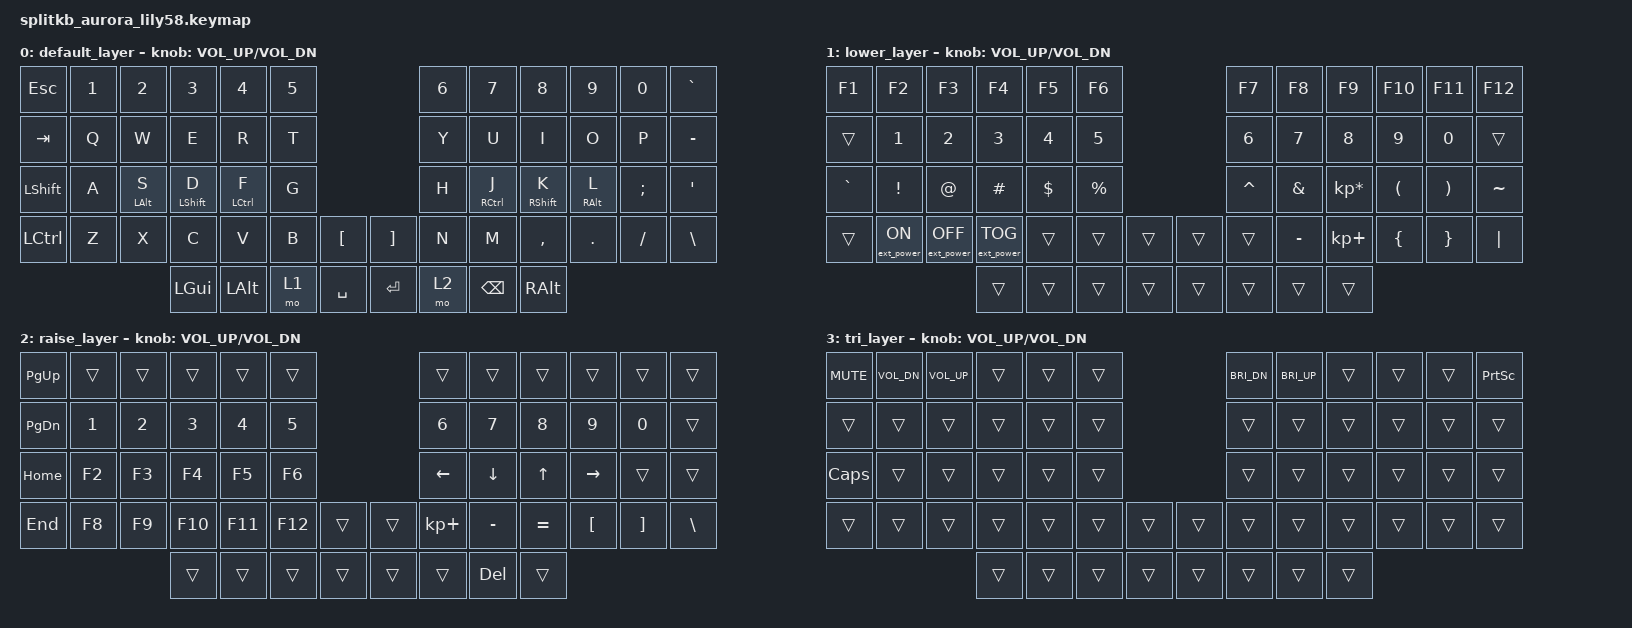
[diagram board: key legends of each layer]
/*
 * Copyright (c) 2020 The ZMK Contributors
 *
 * SPDX-License-Identifier: MIT
 */

#include <behaviors.dtsi>
#include <dt-bindings/zmk/keys.h>
#include <dt-bindings/zmk/bt.h>
#include <dt-bindings/zmk/ext_power.h>

/ {

behaviors {

    hm: homerow_mods {
        compatible = "zmk,behavior-hold-tap";
        #binding-cells = <2>;
        tapping-term-ms = <200>;
        quick-tap-ms = <0>;
        flavor = "balanced";
        bindings = <&kp>, <&kp>;
    };
};

    conditional_layers {
        compatible = "zmk,conditional-layers";
        tri_layer {
            if-layers = <1 2>;
            then-layer = <3>;
        };
    };


	keymap {
		compatible = "zmk,keymap";

		default_layer {
// ------------------------------------------------------------------------------------------------------------
// |  ESC  |  1  |  2  |  3   |  4   |  5   |                   |  6   |  7    |  8    |  9   |   0   |   `   |
// |  TAB  |  Q  |  W  |  E   |  R   |  T   |                   |  Y   |  U    |  I    |  O   |   P   |   -   |
// | SHIFT |  A  |  S  |  D   |  F   |  G   |                   |  H   |  J    |  K    |  L   |   ;   |   '   |
// |  CTRL |  Z  |  X  |  C   |  V   |  B   |   "["  |  |  "]"  |  N   |  M    |  ,    |  .   |   /   |  \ |  |
//                     | GUI  | ALT  | LOWER|  SPACE |  | ENTER | RAISE| BSPC  | ALG_GR|
			bindings = <
&kp ESC   &kp N1 &kp N2      &kp N3        &kp N4      &kp N5                     &kp N6 &kp N7      &kp N8       &kp N9     &kp N0   &kp GRAVE
&kp TAB   &kp Q  &kp W       &kp E         &kp R       &kp T                      &kp Y  &kp U       &kp I        &kp O      &kp P    &kp MINUS
&kp LSHFT &kp A  &hm LALT S  &hm LSHIFT D  &hm LCTRL F &kp G                      &kp H  &hm RCTRL J &hm RSHIFT K &hm RALT L &kp SEMI &kp SQT
&kp LCTRL &kp Z  &kp X       &kp C         &kp V       &kp B  &kp LBKT   &kp RBKT &kp N  &kp M       &kp COMMA    &kp DOT    &kp FSLH &kp BACKSLASH
                             &kp LGUI      &kp LALT    &mo 1  &kp SPACE  &kp RET  &mo 2  &kp BSPC    &kp RIGHT_ALT
			>;

			sensor-bindings = <&inc_dec_kp C_VOL_UP C_VOL_DN>;
		};

		lower_layer {
// ------------------------------------------------------------------------------------------------------------
// |  F1   |  F2 |  F3 |  F4  |  F5  |  F6  |                   |  F7  |  F8   |  F9   |  F10 |  F11  |  F12  |
// |  TAB  |   1 |   2 |   3  |   4  |  5   |                   |   6  |   7   |  8    |    9 |    0  |    -  |
// |   `   |  !  |  @  |  #   |  $   |  %   |                   |  ^   |  &    |  *    |  (   |   )   |   ~   |
// |       |     |     |      |      |      |        |  |       |      |  _    |  +    |  {   |   }   |  "|"  |
//                     |      |      |      |        |  |       |      |       |       |
			bindings = <
&kp F1     &kp F2           &kp F3            &kp F4            &kp F5       &kp F6                       &kp F7    &kp F8    &kp F9          &kp F10   &kp F11   &kp F12
&trans     &kp N1           &kp N2            &kp N3            &kp N4       &kp N5                       &kp N6    &kp N7    &kp N8          &kp N9    &kp N0    &trans
&kp GRAVE  &kp EXCL         &kp AT            &kp HASH          &kp DOLLAR   &kp PRCNT                    &kp CARET &kp AMPS  &kp KP_MULTIPLY &kp LPAR  &kp RPAR  &kp TILDE
&trans     &ext_power EP_ON &ext_power EP_OFF &ext_power EP_TOG &trans       &trans    &trans   &trans    &trans    &kp MINUS &kp KP_PLUS     &kp LBRC  &kp RBRC  &kp PIPE
                                              &trans            &trans       &trans    &trans   &trans    &trans    &trans    &trans
			>;

			sensor-bindings = <&inc_dec_kp C_VOL_UP C_VOL_DN>;
		};

		raise_layer {
// ------------------------------------------------------------------------------------------------------------
// | PUP   |     |     |      |      |      |                   |      |       |       |      |       |       |
// | PDOWN |  1  |  2  |  3   |  4   |  5   |                   |  6   |   7   |   8   |  9   |   0   |       |
// | HOME  |  F2 |  F3 |  F4  |  F5  |  F6  |                   |  <-  |   v   |   ^   |  ->  |       |       |
// | END   |  F8 |  F9 |  F10 |  F11 |  F12 |        |  |       |  +   |   -   |   =   |  [   |   ]   |   \   |
//                     |      |      |      |        |  |       |      |   DEL |       |
			bindings = <
&kp PG_UP &trans &trans &trans  &trans  &trans                       &trans      &trans    &trans    &trans    &trans    &trans
&kp PG_DN &kp N1 &kp N2 &kp N3  &kp N4  &kp N5                       &kp N6      &kp N7    &kp N8    &kp N9    &kp N0    &trans
&kp HOME  &kp F2 &kp F3 &kp F4  &kp F5  &kp F6                       &kp LEFT    &kp DOWN  &kp UP    &kp RIGHT &trans    &trans
&kp END   &kp F8 &kp F9 &kp F10 &kp F11 &kp F12   &trans   &trans    &kp KP_PLUS &kp MINUS &kp EQUAL &kp LBKT  &kp RBKT  &kp BSLH
                        &trans  &trans  &trans    &trans   &trans    &trans      &kp DEL   &trans
			>;

			sensor-bindings = <&inc_dec_kp C_VOL_UP C_VOL_DN>;
		};

		tri_layer {
// ------------------------------------------------------------------------------------------------------------
// | MUTE  | VUP | VDN |      |      |      |                   | B UP | B DN  |       |      |       | PRINT S |
// |       |     |     |      |      |      |                   |      |       |       |      |       |         |
// | CAPSL |     |     |      |      |      |                   |      |       |       |      |       |         |
// |       |     |     |      |      |      |        |  |       |      |       |       |      |BTC ALL| BT CLEAR|
//                     |      |      |      |        |  |       |      |       |       |
			bindings = <
&kp C_MUTE &kp C_VOL_DN &kp C_VOL_UP &trans  &trans  &trans                       &kp C_BRI_DN &kp C_BRI_UP &trans    &trans    &trans           &kp PSCRN
&trans     &trans       &trans       &trans  &trans  &trans                       &trans       &trans       &trans    &trans    &trans           &trans
&kp CAPS   &trans       &trans       &trans  &trans  &trans                       &trans       &trans       &trans    &trans    &trans           &trans
&trans     &trans       &trans       &trans  &trans  &trans    &trans   &trans    &trans       &trans       &trans    &trans    &trans           &trans
                                     &trans  &trans  &trans    &trans   &trans    &trans       &trans       &trans
			>;
			sensor-bindings = <&inc_dec_kp C_VOL_UP C_VOL_DN>;
		};
	};
};
